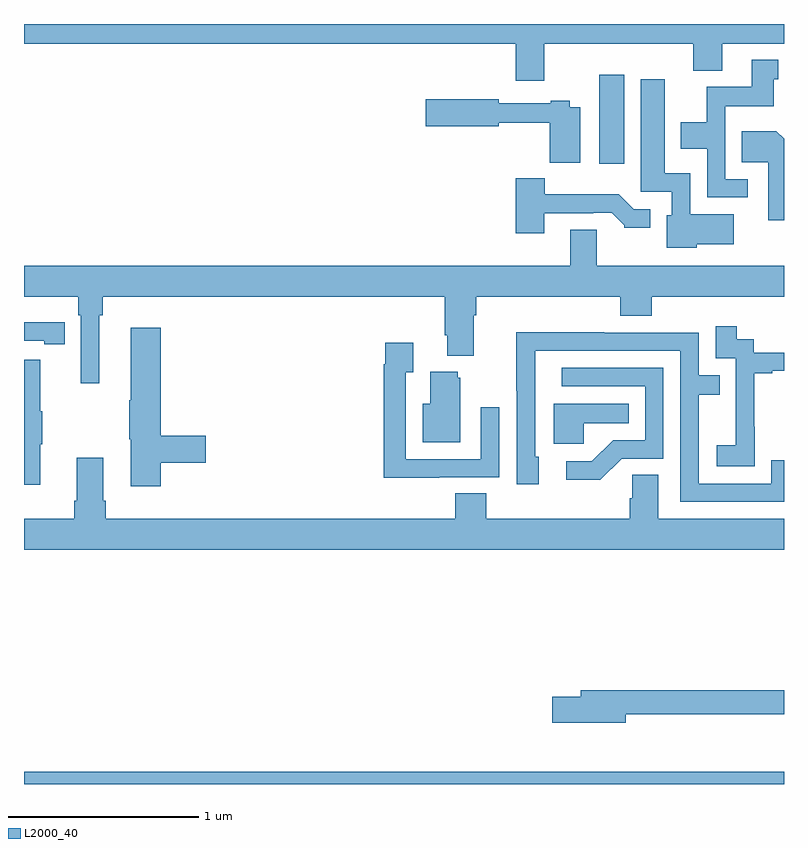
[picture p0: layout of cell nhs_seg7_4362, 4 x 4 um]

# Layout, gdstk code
import gdstk
lib = gdstk.Library(unit=1e-6, precision=1e-09)
def R(c, l, rs):  # rectangles x0, y0, x1, y1
    for r in rs: c.add(gdstk.rectangle(r[:2], r[2:], *l))
def P(c, l, *ps):  # polygons
    for p in ps: c.add(gdstk.Polygon(p, *l))
L2000_40 = (2000, 40)

nhs_seg7_4362 = lib.new_cell('nhs_seg7_4362')
R(nhs_seg7_4362, L2000_40, [(385,1050,389,1050.064), (388.028,1053.264,388.159,1053.733)])
P(nhs_seg7_4362, L2000_40, [(387.739,1053.896),(388.523,1053.896),(388.523,1053.755),(388.675,1053.755),(388.675,1053.896),(389,1053.896),(389,1054),(385,1054),(385,1053.896),(387.587,1053.896),(387.587,1053.702),(387.739,1053.702)],
  [(388.81,1053.183),(388.692,1053.183),(388.692,1053.566),(388.945,1053.566),(388.945,1053.708),(388.969,1053.708),(388.969,1053.811),(388.829,1053.811),(388.829,1053.67),(388.594,1053.67),(388.594,1053.484),(388.457,1053.484),(388.457,1053.344),(388.596,1053.344),(388.596,1053.087),(388.81,1053.087)],
  [(388.542,1052.84),(388.735,1052.84),(388.735,1052.998),(388.506,1052.998),(388.506,1053.214),(388.372,1053.214),(388.372,1053.709),(388.247,1053.709),(388.247,1053.117),(388.41,1053.117),(388.41,1052.994),(388.382,1052.994),(388.382,1052.822),(388.542,1052.822)],
  [(387.928,1053.562),(387.873,1053.562),(387.873,1053.595),(387.773,1053.595),(387.773,1053.582),(387.498,1053.582),(387.498,1053.603),(387.114,1053.603),(387.114,1053.461),(387.498,1053.461),(387.498,1053.481),(387.766,1053.481),(387.766,1053.269),(387.928,1053.269)],
  [(389,1053.396),(388.96,1053.436),(388.777,1053.436),(388.777,1053.272),(388.916,1053.272),(388.916,1052.967),(389,1052.967)],
  [(387.739,1053.003),(387.995,1053.003),(387.995,1053.006),(388.094,1053.006),(388.158,1052.942),(388.158,1052.927),(388.297,1052.927),(388.297,1053.024),(388.209,1053.024),(388.131,1053.103),(387.742,1053.103),(387.742,1053.187),(387.587,1053.187),(387.587,1052.898),(387.739,1052.898)],
  [(385,1052.564),(385.286,1052.564),(385.286,1052.468),(385.299,1052.468),(385.299,1052.109),(385.396,1052.109),(385.396,1052.468),(385.415,1052.468),(385.415,1052.564),(387.215,1052.564),(387.215,1052.362),(387.227,1052.362),(387.227,1052.255),(387.367,1052.255),(387.367,1052.468),(387.38,1052.468),(387.38,1052.564),(388.139,1052.564),(388.139,1052.465),(388.304,1052.465),(388.304,1052.564),(389,1052.564),(389,1052.728),(388.015,1052.728),(388.015,1052.918),(387.875,1052.918),(387.875,1052.728),(385,1052.728)],
  [(385.214,1052.43),(385.106,1052.43),(385.106,1052.431),(385,1052.431),(385,1052.334),(385.106,1052.334),(385.106,1052.314),(385.214,1052.314)],
  [(388.845,1051.879),(388.844,1051.879),(388.844,1052.163),(388.939,1052.163),(388.939,1052.175),(389,1052.175),(389,1052.271),(388.842,1052.271),(388.842,1052.34),(388.75,1052.34),(388.75,1052.41),(388.641,1052.41),(388.641,1052.241),(388.746,1052.241),(388.746,1052.012),(388.745,1052.012),(388.745,1051.783),(388.647,1051.783),(388.647,1051.673),(388.845,1051.673)],
  [(385.721,1051.69),(385.957,1051.69),(385.957,1051.832),(385.721,1051.832),(385.721,1052.401),(385.562,1052.401),(385.562,1052.021),(385.555,1052.021),(385.555,1051.815),(385.562,1051.815),(385.562,1051.566),(385.721,1051.566)],
  [(389,1051.704),(388.932,1051.704),(388.932,1051.581),(388.551,1051.581),(388.551,1052.05),(388.661,1052.05),(388.661,1052.151),(388.551,1052.151),(388.551,1052.376),(388.055,1052.376),(388.055,1052.378),(387.592,1052.378),(387.592,1052.071),(387.594,1052.071),(387.594,1051.578),(387.709,1051.578),(387.709,1051.722),(387.69,1051.722),(387.69,1052.026),(387.691,1052.026),(387.691,1052.28),(388.455,1052.28),(388.455,1051.485),(389,1051.485)],
  [(387.185,1051.614),(387.501,1051.614),(387.501,1051.984),(387.405,1051.984),(387.405,1051.71),(387.009,1051.71),(387.009,1052.167),(387.049,1052.167),(387.049,1052.323),(386.901,1052.323),(386.901,1052.21),(386.893,1052.21),(386.893,1051.613),(387.185,1051.613)],
  [(385.085,1051.787),(385.096,1051.787),(385.096,1051.961),(385.085,1051.961),(385.085,1052.233),(385,1052.233),(385,1051.575),(385.085,1051.575)],
  [(388.146,1051.713),(388.365,1051.713),(388.365,1052.19),(387.831,1052.19),(387.831,1052.094),(388.269,1052.094),(388.269,1051.809),(388.1,1051.809),(387.989,1051.698),(387.855,1051.698),(387.855,1051.601),(388.033,1051.601)],
  [(387.295,1052.139),(387.284,1052.139),(387.284,1052.17),(387.137,1052.17),(387.137,1052.002),(387.098,1052.002),(387.098,1051.799),(387.295,1051.799)],
  [(387.945,1051.898),(388.184,1051.898),(388.184,1052.002),(387.788,1052.002),(387.788,1051.79),(387.945,1051.79)],
  [(389,1051.396),(388.339,1051.396),(388.339,1051.628),(388.2,1051.628),(388.2,1051.505),(388.187,1051.505),(388.187,1051.396),(387.434,1051.396),(387.434,1051.529),(387.269,1051.529),(387.269,1051.396),(385.43,1051.396),(385.43,1051.492),(385.417,1051.492),(385.417,1051.717),(385.277,1051.717),(385.277,1051.492),(385.265,1051.492),(385.265,1051.396),(385,1051.396),(385,1051.232),(389,1051.232)],
  [(388.168,1050.366),(389,1050.366),(389,1050.494),(387.929,1050.494),(387.929,1050.458),(387.78,1050.458),(387.78,1050.323),(388.168,1050.323)])

lib.write_gds('nhs_seg7_4362.gds')
